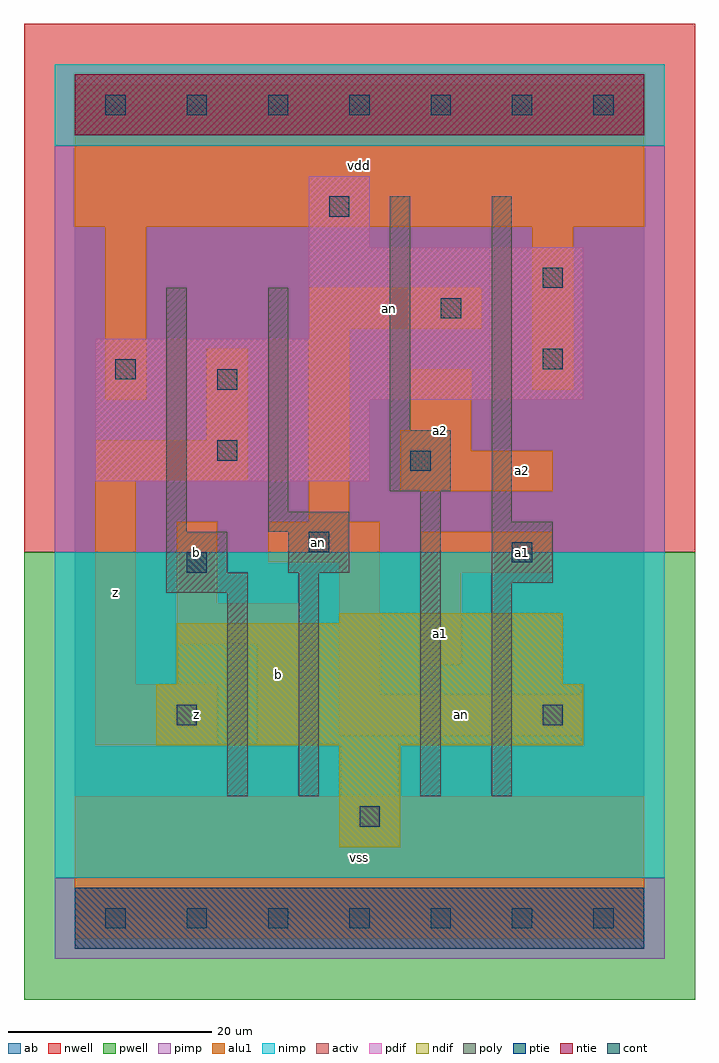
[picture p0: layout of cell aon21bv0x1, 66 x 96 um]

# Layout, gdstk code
import gdstk
lib = gdstk.Library(unit=1e-6, precision=1e-09)
def R(c, l, rs):  # rectangles x0, y0, x1, y1
    for r in rs: c.add(gdstk.rectangle(r[:2], r[2:], *l))
def A(c, l, x, y, w, h, nx, ny, dx, dy):  # array of equal rectangles
    R(c, l, [(x+i*dx, y+j*dy, x+i*dx+w, y+j*dy+h) for i in range(nx) for j in range(ny)])
ndif = (3, 0)
pdif = (4, 0)
ntie = (5, 0)
ptie = (6, 0)
cont = (25, 0)
pwell = (41, 0)
nwell = (42, 0)
activ = (43, 0)
pimp = (44, 0)
nimp = (45, 0)
poly = (46, 0)
alu1 = (49, 0)
ab = (63, 0)

aon21bv0x1 = lib.new_cell('aon21bv0x1')
R(aon21bv0x1, ndif, [(26,7,32,17), (8,17,50,23), (10,23,48,29), (26,29,48,30)])
R(aon21bv0x1, pdif, [(2,43,29,51), (2,51,50,57), (23,57,50,66), (23,66,29,73)])
R(aon21bv0x1, ntie, [(0,77,56,83)])
R(aon21bv0x1, ptie, [(0,-3,56,3)])
A(aon21bv0x1, cont, 3, -1, 2, 2, 7, 2, 8, 80)
R(aon21bv0x1, cont, [(28,9,30,11), (10,19,12,21), (46,19,48,21), (11,34,13,36), (43,35,45,37), (23,36,25,38), (33,44,35,46), (14,45,16,47), (14,52,16,54), (4,53,6,55), (46,54,48,56), (36,59,38,61), (46,62,48,64), (25,69,27,71)])
R(aon21bv0x1, pwell, [(-5,-8,61,36)])
R(aon21bv0x1, nwell, [(-5,36,61,88)])
R(aon21bv0x1, activ, [(0,-3,56,3), (26,7,32,17), (8,17,50,23), (10,23,48,29), (26,29,48,30), (2,43,29,51), (2,51,50,57), (23,57,50,66), (23,66,29,73), (0,77,56,83)])
R(aon21bv0x1, pimp, [(-2,-4,58,4), (-2,36,58,76)])
R(aon21bv0x1, nimp, [(-2,4,58,36), (-2,76,58,84)])
R(aon21bv0x1, poly, [(15,12,17,32), (22,12,24,34), (34,12,36,42), (41,12,43,33), (9,32,17,34), (41,33,47,39), (9,34,15,38), (21,34,27,38), (9,38,11,62), (19,38,27,40), (41,39,43,71), (19,40,21,62), (31,42,37,48), (31,48,33,71)])
R(aon21bv0x1, alu1, [(0,-2,56,12), (2,17,14,23), (18,17,22,27), (26,18,50,22), (26,22,30,35), (2,23,6,43), (34,25,38,34), (10,27,22,31), (10,31,14,39), (34,34,47,38), (19,35,30,39), (23,39,27,58), (32,42,47,46), (2,43,17,47), (32,46,39,48), (13,47,17,56), (33,48,39,54), (3,51,7,68), (45,52,49,68), (23,58,40,62), (0,68,56,82)])
R(aon21bv0x1, ab, [(0,0,56,80)])
aon21bv0x1.add(gdstk.Label('an', (24,37), layer=49, texttype=0))
aon21bv0x1.add(gdstk.Label('an', (31,60), layer=49, texttype=0))
aon21bv0x1.add(gdstk.Label('an', (38,20), layer=49, texttype=0))
aon21bv0x1.add(gdstk.Label('z', (4,32), layer=49, texttype=0))
aon21bv0x1.add(gdstk.Label('z', (12,20), layer=49, texttype=0))
aon21bv0x1.add(gdstk.Label('b', (12,36), layer=49, texttype=0))
aon21bv0x1.add(gdstk.Label('b', (20,24), layer=49, texttype=0))
aon21bv0x1.add(gdstk.Label('vss', (28,6), layer=49, texttype=0))
aon21bv0x1.add(gdstk.Label('a1', (36,28), layer=49, texttype=0))
aon21bv0x1.add(gdstk.Label('a2', (36,48), layer=49, texttype=0))
aon21bv0x1.add(gdstk.Label('vdd', (28,74), layer=49, texttype=0))
aon21bv0x1.add(gdstk.Label('a1', (44,36), layer=49, texttype=0))
aon21bv0x1.add(gdstk.Label('a2', (44,44), layer=49, texttype=0))

lib.write_gds('aon21bv0x1.gds')
